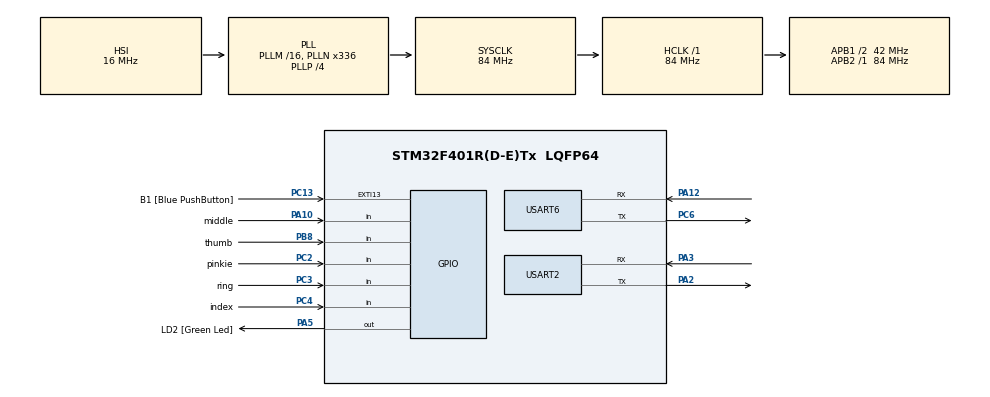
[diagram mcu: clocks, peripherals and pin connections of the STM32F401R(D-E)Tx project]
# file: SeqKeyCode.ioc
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Mcu.Family=STM32F4
Mcu.Name=STM32F401R(D-E)Tx
Mcu.Package=LQFP64
NVIC.PriorityGroup=NVIC_PRIORITYGROUP_0
PA10.GPIO_Label=middle
PA10.GPIO_PuPd=GPIO_PULLUP
PA10.Signal=GPIO_Input
PA12.Mode=Asynchronous
PA12.Signal=USART6_RX
PA13.GPIO_Label=TMS
PA13.Mode=Serial_Wire
PA13.Signal=SYS_JTMS-SWDIO
PA14.GPIO_Label=TCK
PA14.Mode=Serial_Wire
PA14.Signal=SYS_JTCK-SWCLK
PA2.Mode=Asynchronous
PA2.Signal=USART2_TX
PA3.Mode=Asynchronous
PA3.Signal=USART2_RX
PA5.GPIO_Label=LD2 [Green Led]
PA5.GPIO_Mode=GPIO_MODE_OUTPUT_PP
PA5.GPIO_PuPd=GPIO_NOPULL
PA5.GPIO_Speed=GPIO_SPEED_FREQ_LOW
PA5.Signal=GPIO_Output
PB3.GPIO_Label=SWO
PB3.Signal=SYS_JTDO-SWO
PB8.GPIO_Label=thumb
PB8.GPIO_PuPd=GPIO_PULLUP
PB8.Signal=GPIO_Input
PC13-ANTI_TAMP.GPIO_Label=B1 [Blue PushButton]
PC13-ANTI_TAMP.GPIO_ModeDefaultEXTI=GPIO_MODE_IT_FALLING
PC13-ANTI_TAMP.GPIO_PuPd=GPIO_NOPULL
PC13-ANTI_TAMP.Signal=GPXTI13
PC14-OSC32_IN.Mode=LSE-External-Oscillator
PC14-OSC32_IN.Signal=RCC_OSC32_IN
PC15-OSC32_OUT.Mode=LSE-External-Oscillator
PC15-OSC32_OUT.Signal=RCC_OSC32_OUT
PC2.GPIO_Label=pinkie
PC2.GPIO_PuPd=GPIO_PULLUP
PC2.Signal=GPIO_Input
PC3.GPIO_Label=ring
PC3.GPIO_PuPd=GPIO_PULLUP
PC3.Signal=GPIO_Input
PC4.GPIO_Label=index
PC4.GPIO_PuPd=GPIO_PULLUP
PC4.Signal=GPIO_Input
PC6.Mode=Asynchronous
PC6.Signal=USART6_TX
PH0\ -\ OSC_IN.Mode=HSE-External-Clock-Source
PH0\ -\ OSC_IN.Signal=RCC_OSC_IN
PH1\ -\ OSC_OUT.Mode=HSE-External-Clock-Source
PH1\ -\ OSC_OUT.Signal=RCC_OSC_OUT
ProjectManager.HeapSize=0x200
ProjectManager.StackSize=0x400
ProjectManager.TargetToolchain=STM32CubeIDE
RCC.48MHZClocksFreq_Value=48000000
RCC.AHBFreq_Value=84000000
RCC.APB1CLKDivider=RCC_HCLK_DIV2
RCC.APB1Freq_Value=42000000
RCC.APB1TimFreq_Value=84000000
RCC.APB2Freq_Value=84000000
RCC.APB2TimFreq_Value=84000000
RCC.CortexFreq_Value=84000000
RCC.HCLKFreq_Value=84000000
RCC.HSE_VALUE=8000000
RCC.HSI_VALUE=16000000
RCC.PLLN=336
RCC.PLLP=RCC_PLLP_DIV4
RCC.PLLQ=7
RCC.SYSCLKFreq_VALUE=84000000
RCC.SYSCLKSource=RCC_SYSCLKSOURCE_PLLCLK
RCC.VCOOutputFreq_Value=336000000
USART2.VirtualMode=VM_ASYNC
USART6.VirtualMode=VM_ASYNC
board=NUCLEO-F401RE

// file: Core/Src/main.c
/* USER CODE BEGIN Header */
/**
  ******************************************************************************
  * @file           : main.c
  * @brief          : Main program body
  ******************************************************************************
  * @attention
  *
  * Copyright (c) 2024 STMicroelectronics.
  * All rights reserved.
  *
  * This software is licensed under terms that can be found in the LICENSE file
  * in the root directory of this software component.
  * If no LICENSE file comes with this software, it is provided AS-IS.
  *
  ******************************************************************************
  */
/* USER CODE END Header */
#include "main.h"
#include "usart.h"
#include "gpio.h"
#include <string.h> // For memset and strcmp
#include <stdio.h>  // For printf

/* USER CODE BEGIN Includes */

<<<<<<< HEAD

/* USER CODE END Includes */

/* USER CODE BEGIN PD */

#define SEQ_BUFFER_SIZE 32
#define WORD_BUFFER_SIZE 32

char seq_buffer[SEQ_BUFFER_SIZE] = {0}; // Holds the 4-button sequence
char word_buffer[WORD_BUFFER_SIZE] = {0}; // Holds the constructed string
uint8_t seq_index = 0; // Tracks the sequence length
uint8_t word_index = 0; // Tracks the word length

uint8_t button_state[5] = {0};      // Current button state
uint8_t button_prev_state[5] = {0}; // Previous button state
char button_chars[4] = {'|', '-', '/', '('}; // Buttons for sequence (excluding thumb)

/* USER CODE END PD */

void SystemClock_Config(void);

/* USER CODE BEGIN 0 */

int _write(int file, char *ptr, int len) {
	HAL_UART_Transmit(&huart2, (uint8_t *)ptr, len, HAL_MAX_DELAY);
	return len;
}

void update_button_states();
void process_sequence();
void reset_buffers();
void send_string();

void update_button_states() {
	// Update previous states
	for (int i = 0; i < 5; i++) {
		button_prev_state[i] = button_state[i];
	}

	// Read current button states
	button_state[0] = HAL_GPIO_ReadPin(GPIOB, GPIO_PIN_8) == GPIO_PIN_RESET; // Thumb
	button_state[1] = HAL_GPIO_ReadPin(GPIOC, GPIO_PIN_4) == GPIO_PIN_RESET; // Index
	button_state[2] = HAL_GPIO_ReadPin(GPIOA, GPIO_PIN_10) == GPIO_PIN_RESET; // Middle
	button_state[3] = HAL_GPIO_ReadPin(GPIOC, GPIO_PIN_3) == GPIO_PIN_RESET; // Ring
	button_state[4] = HAL_GPIO_ReadPin(GPIOC, GPIO_PIN_2) == GPIO_PIN_RESET; // Pinky
}

void process_sequence() {
	// Map sequence to a letter
	char letter = 0;

	// Letter mappings (A-Z)
	if (strcmp(seq_buffer, "//-") == 0 || strcmp(seq_buffer, "/") == 0) letter = 'A';
	if (strcmp(seq_buffer, "|((") == 0 || strcmp(seq_buffer, "-(") == 0) letter = 'B';
	if (strcmp(seq_buffer, "(") == 0) letter = 'C';
	if (strcmp(seq_buffer, "|(") == 0) letter = 'D';
	if (strcmp(seq_buffer, "---") == 0 || strcmp(seq_buffer, "-") == 0) letter = 'E';
	if (strcmp(seq_buffer, "|--") == 0 || strcmp(seq_buffer, "--") == 0) letter = 'F';
	if (strcmp(seq_buffer, "(-|") == 0) letter = 'G';
	if (strcmp(seq_buffer, "|-|") == 0 || strcmp(seq_buffer, "||") == 0) letter = 'H';
	if (strcmp(seq_buffer, "-|-") == 0 || strcmp(seq_buffer, "|") == 0) letter = 'I';
	if (strcmp(seq_buffer, "-|(") == 0) letter = 'J';
	if (strcmp(seq_buffer, "|//") == 0) letter = 'K';
	if (strcmp(seq_buffer, "|-") == 0) letter = 'L';
	if (strcmp(seq_buffer, "|//|") == 0) letter = 'M';
	if (strcmp(seq_buffer, "|/|") == 0 || strcmp(seq_buffer, "|/") == 0) letter = 'N';
	if (strcmp(seq_buffer, "((") == 0) letter = 'O';
	if (strcmp(seq_buffer, "|(-") == 0 || strcmp(seq_buffer, "/-") == 0) letter = 'P';
	if (strcmp(seq_buffer, "((/") == 0) letter = 'Q';
	if (strcmp(seq_buffer, "|(/") == 0 || strcmp(seq_buffer, "(/") == 0) letter = 'R';
	if (strcmp(seq_buffer, "(-(") == 0 || strcmp(seq_buffer, "(-") == 0) letter = 'S';
	if (strcmp(seq_buffer, "-|") == 0) letter = 'T';
	if (strcmp(seq_buffer, "|(|") == 0 || strcmp(seq_buffer, "(|") == 0) letter = 'U';
	if (strcmp(seq_buffer, "/(/") == 0 || strcmp(seq_buffer, "/(") == 0) letter = 'V';
	if (strcmp(seq_buffer, "////") == 0 || strcmp(seq_buffer, "///") == 0) letter = 'W';
	if (strcmp(seq_buffer, "//") == 0) letter = 'X';
	if (strcmp(seq_buffer, "/|/") == 0 || strcmp(seq_buffer, "/|") == 0) letter = 'Y';
	if (strcmp(seq_buffer, "-/-") == 0 || strcmp(seq_buffer, "-/") == 0) letter = 'Z';

	// Number mappings (1-9, 0)
//	if (strcmp(seq_buffer, "1") == 0) letter = '1';
//	if (strcmp(seq_buffer, "2") == 0) letter = '2';
//	if (strcmp(seq_buffer, "3") == 0) letter = '3';
//	if (strcmp(seq_buffer, "4") == 0) letter = '4';
//	if (strcmp(seq_buffer, "5") == 0) letter = '5';
//	if (strcmp(seq_buffer, "6") == 0) letter = '6';
//	if (strcmp(seq_buffer, "7") == 0) letter = '7';
//	if (strcmp(seq_buffer, "8") == 0) letter = '8';
//	if (strcmp(seq_buffer, "9") == 0) letter = '9';
//	if (strcmp(seq_buffer, "0") == 0) letter = '0';

	// Control Commands
//	if (strcmp(seq_buffer, "combination of (-|/") == 0) letter = '_';  // Reset sequence
//	if (strcmp(seq_buffer, "(/-|") == 0) letter = '-';  // Backspace
//	if (strcmp(seq_buffer, "#") == 0) letter = '>';  // Enter letter
//	if (strcmp(seq_buffer, "##") == 0) letter = '@';  // Send word

	if (letter) {
		// Append the letter to the word buffer
		if (word_index < WORD_BUFFER_SIZE - 1) {
			word_buffer[word_index++] = letter;
			word_buffer[word_index] = '\n'; // Null-terminate the string
			printf("Letter added: %c\r\n", letter);
		}
		else {
			printf("Word buffer full!\r\n");
		}
	}
	else {
		printf("Invalid sequence: %s\r\n", seq_buffer);
	}

	// Clear sequence buffer after processing
	memset(seq_buffer, 0, SEQ_BUFFER_SIZE);
	seq_index = 0;
}

void send_word() {
	printf("String sent: %s\r\n", word_buffer);

	HAL_UART_Transmit(&huart6, (uint8_t *)word_buffer, strlen(word_buffer), HAL_MAX_DELAY);
	HAL_Delay(10);

	// Reset word buffer
	memset(word_buffer, 0, WORD_BUFFER_SIZE);
	word_index = 0;

	// Toggle LED for feedback
	HAL_GPIO_TogglePin(GPIOA, GPIO_PIN_5);
	HAL_Delay(300);
	HAL_GPIO_TogglePin(GPIOA, GPIO_PIN_5);
}

void reset_buffers() {
	memset(seq_buffer, 0, SEQ_BUFFER_SIZE);
	memset(word_buffer, 0, WORD_BUFFER_SIZE);
	seq_index = 0;
	word_index = 0;
}

/* USER CODE END 0 */

int main(void)
{

  /* MCU Configuration--------------------------------------------------------*/

  /* Reset of all peripherals, Initializes the Flash interface and the Systick. */
  HAL_Init();

  /* Configure the system clock */
  SystemClock_Config();

  /* Initialize all configured peripherals */
  MX_GPIO_Init();
  MX_USART2_UART_Init();
  MX_USART6_UART_Init();
  /* USER CODE BEGIN 2 */

  printf("UART Initialized \r\n");

// Trie Node
typedef struct TrieNode {
    struct TrieNode* children[26]; // Assuming only uppercase letters A-Z
    bool isEndOfWord;
} TrieNode;

// Trie
typedef struct {
    TrieNode* root;
} Trie;

// Create a new Trie node
TrieNode* createTrieNode() {
    TrieNode* node = (TrieNode*)malloc(sizeof(TrieNode));
    for (int i = 0; i < 26; i++) {
        node->children[i] = NULL;
    }
    node->isEndOfWord = false;
    return node;
}

// Initialize Trie
void initTrie(Trie* trie) {
    trie->root = createTrieNode();
}

// Insert a word into the Trie
void insertTrie(Trie* trie, const char* word) {
    TrieNode* current = trie->root;
    for (int i = 0; word[i] != '\0'; i++) {
        int index = word[i] - 'A'; // Convert char to index (A=0, B=1, ..., Z=25)
        if (current->children[index] == NULL) {
            current->children[index] = createTrieNode();
        }
        current = current->children[index];
    }
    current->isEndOfWord = true;
}

// Fuzzy Search: Longest Common Subsequence (LCS)
int lcsLength(const char* input, const char* word) {
    int m = strlen(input);
    int n = strlen(word);
    int dp[m + 1][n + 1];
    memset(dp, 0, sizeof(dp));

    for (int i = 1; i <= m; i++) {
        for (int j = 1; j <= n; j++) {
            if (input[i - 1] == word[j - 1]) {
                dp[i][j] = dp[i - 1][j - 1] + 1;
            } else {
                dp[i][j] = (dp[i - 1][j] > dp[i][j - 1]) ? dp[i - 1][j] : dp[i][j - 1];
            }
        }
    }
    return dp[m][n];
}

// Recursive function to collect all words from a Trie node
void collectWords(TrieNode* node, char* prefix, int prefixLength, char* buffer, int* bufferIndex) {
    if (node->isEndOfWord) {
        buffer[(*bufferIndex)++] = '\0'; // Null-terminate the word
        strcpy(&buffer[*bufferIndex], prefix);
        *bufferIndex += prefixLength;
    }
    for (int i = 0; i < 26; i++) {
        if (node->children[i] != NULL) {
            prefix[prefixLength] = 'A' + i; // Append the current character
            collectWords(node->children[i], prefix, prefixLength + 1, buffer, bufferIndex);
            prefix[prefixLength] = '\0'; // Backtrack
        }
    }
}

// Find closest matches using Trie and Fuzzy Search
void findClosestMatches(Trie* trie, const char* input, char* output) {
    // Step 1: Use Trie to find words with the same prefix
    TrieNode* current = trie->root;
    for (int i = 0; input[i] != '\0'; i++) {
        int index = input[i] - 'A';
        if (current->children[index] == NULL) {
            return; // No words with this prefix
        }
        current = current->children[index];
    }

    // Step 2: Collect all words with the same prefix
    char buffer[WORD_BUFFER_SIZE * 100]; // Buffer to hold all words
    int bufferIndex = 0;
    char prefix[WORD_BUFFER_SIZE] = {0};
    strcpy(prefix, input); // Start with the input prefix
    collectWords(current, prefix, strlen(prefix), buffer, &bufferIndex);

    // Step 3: Rank words using LCS
    int maxScore = -1;
    char* closestMatch = NULL;
    char* word = strtok(buffer, "\0"); // Split buffer into individual words
    while (word != NULL) {
        int score = lcsLength(input, word);
        if (score > maxScore) {
            maxScore = score;
            closestMatch = word;
        }
        word = strtok(NULL, "\0");
    }

    // Step 4: Return the closest match
    if (closestMatch != NULL) {
        strcpy(output, closestMatch);
    } else {
        strcpy(output, ""); // No match found
    }
}

void insertWordsFromFile(Trie* trie, const char* filename) {
    FILE* file = fopen(filename, "r");
    if (file == NULL) {
        printf("Failed to open file: %s\r\n", filename);
        return;
    }

    char line[WORD_BUFFER_SIZE];
    while (fgets(line, sizeof(line), file)) {
        // Remove trailing newline character (if any)
        line[strcspn(line, "\n")] = '\0';
        // Insert the word into the Trie
        insertTrie(trie, line);
    }

    fclose(file);
    printf("Words inserted from file: %s\r\n", filename);
}

/* USER CODE END Includes */

/* Private typedef -----------------------------------------------------------*/
/* USER CODE BEGIN PTD */

/* USER CODE END PTD */

/* Private define ------------------------------------------------------------*/
/* USER CODE BEGIN PD */

#define SEQ_BUFFER_SIZE 32
#define WORD_BUFFER_SIZE 32

char seq_buffer[SEQ_BUFFER_SIZE] = {0}; // Holds the 4-button sequence
char word_buffer[WORD_BUFFER_SIZE] = {0}; // Holds the constructed string
uint8_t seq_index = 0; // Tracks the sequence length
uint8_t word_index = 0; // Tracks the word length

uint8_t button_state[5] = {0};      // Current button state
uint8_t button_prev_state[5] = {0}; // Previous button state
char button_chars[4] = {'|', '-', '/', '('}; // Buttons for sequence (excluding thumb)

/* USER CODE END PD */

/* Private macro -------------------------------------------------------------*/
/* USER CODE BEGIN PM */

/* USER CODE END PM */

/* Private variables ---------------------------------------------------------*/

/* USER CODE BEGIN PV */

/* USER CODE END PV */

/* Private function prototypes -----------------------------------------------*/
void SystemClock_Config(void);
/* USER CODE BEGIN PFP */

/* USER CODE END PFP */

/* Private user code ---------------------------------------------------------*/
/* USER CODE BEGIN 0 */

int _write(int file, char *ptr, int len) {
	HAL_UART_Transmit(&huart2, (uint8_t *)ptr, len, HAL_MAX_DELAY);
	return len;
}

void update_button_states();
void process_sequence();
void reset_buffers();
void send_string();

void update_button_states() {
	// Update previous states
	for (int i = 0; i < 5; i++) {
		button_prev_state[i] = button_state[i];
	}

	// Read current button states
	button_state[0] = HAL_GPIO_ReadPin(GPIOB, GPIO_PIN_8) == GPIO_PIN_RESET; // Thumb
	button_state[1] = HAL_GPIO_ReadPin(GPIOC, GPIO_PIN_4) == GPIO_PIN_RESET; // Index
	button_state[2] = HAL_GPIO_ReadPin(GPIOA, GPIO_PIN_10) == GPIO_PIN_RESET; // Middle
	button_state[3] = HAL_GPIO_ReadPin(GPIOC, GPIO_PIN_3) == GPIO_PIN_RESET; // Ring
	button_state[4] = HAL_GPIO_ReadPin(GPIOC, GPIO_PIN_2) == GPIO_PIN_RESET; // Pinky
}

void process_sequence() {
	// Map sequence to a letter
	char letter = 0;

	// Letter mappings (A-Z)
	if (strcmp(seq_buffer, "//-") == 0 || strcmp(seq_buffer, "/") == 0) letter = 'A';
	if (strcmp(seq_buffer, "|((") == 0 || strcmp(seq_buffer, "-(") == 0) letter = 'B';
	if (strcmp(seq_buffer, "(") == 0) letter = 'C';
	if (strcmp(seq_buffer, "|(") == 0) letter = 'D';
	if (strcmp(seq_buffer, "---") == 0 || strcmp(seq_buffer, "-") == 0) letter = 'E';
	if (strcmp(seq_buffer, "|--") == 0 || strcmp(seq_buffer, "--") == 0) letter = 'F';
	if (strcmp(seq_buffer, "(-|") == 0) letter = 'G';
	if (strcmp(seq_buffer, "|-|") == 0 || strcmp(seq_buffer, "||") == 0) letter = 'H';
	if (strcmp(seq_buffer, "-|-") == 0 || strcmp(seq_buffer, "|") == 0) letter = 'I';
	if (strcmp(seq_buffer, "-|(") == 0) letter = 'J';
	if (strcmp(seq_buffer, "|//") == 0) letter = 'K';
	if (strcmp(seq_buffer, "|-") == 0) letter = 'L';
	if (strcmp(seq_buffer, "|//|") == 0) letter = 'M';
	if (strcmp(seq_buffer, "|/|") == 0 || strcmp(seq_buffer, "|/") == 0) letter = 'N';
	if (strcmp(seq_buffer, "((") == 0) letter = 'O';
	if (strcmp(seq_buffer, "|(-") == 0 || strcmp(seq_buffer, "/-") == 0) letter = 'P';
	if (strcmp(seq_buffer, "((/") == 0) letter = 'Q';
	if (strcmp(seq_buffer, "|(/") == 0 || strcmp(seq_buffer, "(/") == 0) letter = 'R';
	if (strcmp(seq_buffer, "(-(") == 0 || strcmp(seq_buffer, "(-") == 0) letter = 'S';
	if (strcmp(seq_buffer, "-|") == 0) letter = 'T';
	if (strcmp(seq_buffer, "|(|") == 0 || strcmp(seq_buffer, "(|") == 0) letter = 'U';
	if (strcmp(seq_buffer, "/(/") == 0 || strcmp(seq_buffer, "/(") == 0) letter = 'V';
	if (strcmp(seq_buffer, "////") == 0 || strcmp(seq_buffer, "///") == 0) letter = 'W';
	if (strcmp(seq_buffer, "//") == 0) letter = 'X';
	if (strcmp(seq_buffer, "/|/") == 0 || strcmp(seq_buffer, "/|") == 0) letter = 'Y';
	if (strcmp(seq_buffer, "-/-") == 0 || strcmp(seq_buffer, "-/") == 0) letter = 'Z';

	// Number mappings (1-9, 0)
//	if (strcmp(seq_buffer, "1") == 0) letter = '1';
//	if (strcmp(seq_buffer, "2") == 0) letter = '2';
//	if (strcmp(seq_buffer, "3") == 0) letter = '3';
//	if (strcmp(seq_buffer, "4") == 0) letter = '4';
//	if (strcmp(seq_buffer, "5") == 0) letter = '5';
//	if (strcmp(seq_buffer, "6") == 0) letter = '6';
//	if (strcmp(seq_buffer, "7") == 0) letter = '7';
//	if (strcmp(seq_buffer, "8") == 0) letter = '8';
//	if (strcmp(seq_buffer, "9") == 0) letter = '9';
//	if (strcmp(seq_buffer, "0") == 0) letter = '0';

	// Control Commands
//	if (strcmp(seq_buffer, "combination of (-|/") == 0) letter = '_';  // Reset sequence
//	if (strcmp(seq_buffer, "(/-|") == 0) letter = '-';  // Backspace
//	if (strcmp(seq_buffer, "#") == 0) letter = '>';  // Enter letter
//	if (strcmp(seq_buffer, "##") == 0) letter = '@';  // Send word

	if (letter) {
		// Append the letter to the word buffer
		if (word_index < WORD_BUFFER_SIZE - 1) {
			word_buffer[word_index++] = letter;
			word_buffer[word_index] = '\n'; // Null-terminate the string
			printf("Letter added: %c\r\n", letter);
		}
		else {
			printf("Word buffer full!\r\n");
		}
	}
	else {
		printf("Invalid sequence: %s\r\n", seq_buffer);
	}

	// Clear sequence buffer after processing
	memset(seq_buffer, 0, SEQ_BUFFER_SIZE);
	seq_index = 0;
}

void send_word() {
	printf("String sent: %s\r\n", word_buffer);

	HAL_UART_Transmit(&huart6, (uint8_t *)word_buffer, strlen(word_buffer), HAL_MAX_DELAY);
	HAL_Delay(10);

	// Reset word buffer
	memset(word_buffer, 0, WORD_BUFFER_SIZE);
	word_index = 0;

	// Toggle LED for feedback
	HAL_GPIO_TogglePin(GPIOA, GPIO_PIN_5);
	HAL_Delay(300);
	HAL_GPIO_TogglePin(GPIOA, GPIO_PIN_5);
}

void reset_buffers() {
	memset(seq_buffer, 0, SEQ_BUFFER_SIZE);
	memset(word_buffer, 0, WORD_BUFFER_SIZE);
	seq_index = 0;
	word_index = 0;
}

void process_sequence() {
    // Map sequence to a letter
    char letter = 0;

    // Use Trie and Fuzzy Search to find the closest match
    char closestMatch[WORD_BUFFER_SIZE];
    findClosestMatches(&trie, seq_buffer, closestMatch);

    // Append the closest match to the word buffer
    if (word_index + strlen(closestMatch) < WORD_BUFFER_SIZE - 1) {
        strcat(word_buffer, closestMatch);
        word_index += strlen(closestMatch);
        printf("Closest match added: %s\r\n", closestMatch);
    } else {
        printf("Word buffer full!\r\n");
    }

    // Clear sequence buffer after processing
    memset(seq_buffer, 0, SEQ_BUFFER_SIZE);
    seq_index = 0;
}

TrieNode* createTrieNode() {
    TrieNode* node = (TrieNode*)malloc(sizeof(TrieNode));
    if (node == NULL) {
        printf("Memory allocation failed!\r\n");
        return NULL;
    }
    for (int i = 0; i < 26; i++) {
        node->children[i] = NULL;
    }
    node->isEndOfWord = false;
    return node;
}

/* USER CODE END 0 */

/**
  * @brief  The application entry point.
  * @retval int
  */
int main(void)
{

  /* USER CODE BEGIN 1 */

  /* USER CODE END 1 */

  /* MCU Configuration--------------------------------------------------------*/

  /* Reset of all peripherals, Initializes the Flash interface and the Systick. */
  HAL_Init();

  /* USER CODE BEGIN Init */

  /* USER CODE END Init */

  /* Configure the system clock */
  SystemClock_Config();

  /* USER CODE BEGIN SysInit */

  /* USER CODE END SysInit */

  /* Initialize all configured peripherals */
  MX_GPIO_Init();
  MX_USART2_UART_Init();
  MX_USART6_UART_Init();
  /* USER CODE BEGIN 2 */

  printf("UART Initialized \r\n");

  Trie trie;
  initTrie(&trie);
  // Insert words from a text file into the Trie
  insertWordsFromFile(&trie, "google-10000-english.txt");

/* USER CODE END Includes */

/* Private typedef -----------------------------------------------------------*/
/* USER CODE BEGIN PTD */

/* USER CODE END PTD */

/* Private define ------------------------------------------------------------*/
/* USER CODE BEGIN PD */

#define SEQ_BUFFER_SIZE 32
#define WORD_BUFFER_SIZE 32

char seq_buffer[SEQ_BUFFER_SIZE] = {0}; // Holds the 4-button sequence
char word_buffer[WORD_BUFFER_SIZE] = {0}; // Holds the constructed string
uint8_t seq_index = 0; // Tracks the sequence length
uint8_t word_index = 0; // Tracks the word length

uint8_t button_state[5] = {0};      // Current button state
uint8_t button_prev_state[5] = {0}; // Previous button state
char button_chars[4] = {'|', '-', '/', '('}; // Buttons for sequence (excluding thumb)

/* USER CODE END PD */

/* Private macro -------------------------------------------------------------*/
/* USER CODE BEGIN PM */

/* USER CODE END PM */

/* Private variables ---------------------------------------------------------*/

/* USER CODE BEGIN PV */

/* USER CODE END PV */

/* Private function prototypes -----------------------------------------------*/
void SystemClock_Config(void);
/* USER CODE BEGIN PFP */

/* USER CODE END PFP */

/* Private user code ---------------------------------------------------------*/
/* USER CODE BEGIN 0 */

int _write(int file, char *ptr, int len) {
	HAL_UART_Transmit(&huart2, (uint8_t *)ptr, len, HAL_MAX_DELAY);
	return len;
}

void update_button_states();
void process_sequence();
void reset_buffers();
void send_string();

void update_button_states() {
	// Update previous states
	for (int i = 0; i < 5; i++) {
		button_prev_state[i] = button_state[i];
	}

	// Read current button states
	button_state[0] = HAL_GPIO_ReadPin(GPIOB, GPIO_PIN_8) == GPIO_PIN_RESET; // Thumb
	button_state[1] = HAL_GPIO_ReadPin(GPIOC, GPIO_PIN_4) == GPIO_PIN_RESET; // Index
	button_state[2] = HAL_GPIO_ReadPin(GPIOA, GPIO_PIN_10) == GPIO_PIN_RESET; // Middle
	button_state[3] = HAL_GPIO_ReadPin(GPIOC, GPIO_PIN_3) == GPIO_PIN_RESET; // Ring
	button_state[4] = HAL_GPIO_ReadPin(GPIOC, GPIO_PIN_2) == GPIO_PIN_RESET; // Pinky
}

void process_sequence() {
	// Map sequence to a letter
	char letter = 0;

	// Letter mappings (A-Z)
	if (strcmp(seq_buffer, "//-") == 0 || strcmp(seq_buffer, "/") == 0) letter = 'A';
	if (strcmp(seq_buffer, "|((") == 0 || strcmp(seq_buffer, "-(") == 0) letter = 'B';
	if (strcmp(seq_buffer, "(") == 0) letter = 'C';
	if (strcmp(seq_buffer, "|(") == 0) letter = 'D';
	if (strcmp(seq_buffer, "---") == 0 || strcmp(seq_buffer, "-") == 0) letter = 'E';
	if (strcmp(seq_buffer, "|--") == 0 || strcmp(seq_buffer, "--") == 0) letter = 'F';
	if (strcmp(seq_buffer, "(-|") == 0) letter = 'G';
	if (strcmp(seq_buffer, "|-|") == 0 || strcmp(seq_buffer, "||") == 0) letter = 'H';
	if (strcmp(seq_buffer, "-|-") == 0 || strcmp(seq_buffer, "|") == 0) letter = 'I';
	if (strcmp(seq_buffer, "-|(") == 0) letter = 'J';
	if (strcmp(seq_buffer, "|//") == 0) letter = 'K';
	if (strcmp(seq_buffer, "|-") == 0) letter = 'L';
	if (strcmp(seq_buffer, "|//|") == 0) letter = 'M';
	if (strcmp(seq_buffer, "|/|") == 0 || strcmp(seq_buffer, "|/") == 0) letter = 'N';
	if (strcmp(seq_buffer, "((") == 0) letter = 'O';
	if (strcmp(seq_buffer, "|(-") == 0 || strcmp(seq_buffer, "/-") == 0) letter = 'P';
	if (strcmp(seq_buffer, "((/") == 0) letter = 'Q';
	if (strcmp(seq_buffer, "|(/") == 0 || strcmp(seq_buffer, "(/") == 0) letter = 'R';
	if (strcmp(seq_buffer, "(-(") == 0 || strcmp(seq_buffer, "(-") == 0) letter = 'S';
	if (strcmp(seq_buffer, "-|") == 0) letter = 'T';
	if (strcmp(seq_buffer, "|(|") == 0 || strcmp(seq_buffer, "(|") == 0) letter = 'U';
	if (strcmp(seq_buffer, "/(/") == 0 || strcmp(seq_buffer, "/(") == 0) letter = 'V';
	if (strcmp(seq_buffer, "////") == 0 || strcmp(seq_buffer, "///") == 0) letter = 'W';
	if (strcmp(seq_buffer, "//") == 0) letter = 'X';
	if (strcmp(seq_buffer, "/|/") == 0 || strcmp(seq_buffer, "/|") == 0) letter = 'Y';
	if (strcmp(seq_buffer, "-/-") == 0 || strcmp(seq_buffer, "-/") == 0) letter = 'Z';

	// Number mappings (1-9, 0)
//	if (strcmp(seq_buffer, "1") == 0) letter = '1';
//	if (strcmp(seq_buffer, "2") == 0) letter = '2';
//	if (strcmp(seq_buffer, "3") == 0) letter = '3';
//	if (strcmp(seq_buffer, "4") == 0) letter = '4';
//	if (strcmp(seq_buffer, "5") == 0) letter = '5';
//	if (strcmp(seq_buffer, "6") == 0) letter = '6';
//	if (strcmp(seq_buffer, "7") == 0) letter = '7';
//	if (strcmp(seq_buffer, "8") == 0) letter = '8';
//	if (strcmp(seq_buffer, "9") == 0) letter = '9';
//	if (strcmp(seq_buffer, "0") == 0) letter = '0';

	// Control Commands
//	if (strcmp(seq_buffer, "combination of (-|/") == 0) letter = '_';  // Reset sequence
//	if (strcmp(seq_buffer, "(/-|") == 0) letter = '-';  // Backspace
//	if (strcmp(seq_buffer, "#") == 0) letter = '>';  // Enter letter
//	if (strcmp(seq_buffer, "##") == 0) letter = '@';  // Send word

	if (letter) {
		// Append the letter to the word buffer
		if (word_index < WORD_BUFFER_SIZE - 1) {
			word_buffer[word_index++] = letter;
			word_buffer[word_index] = '\n'; // Null-terminate the string
			printf("Letter added: %c\r\n", letter);
		}
		else {
			printf("Word buffer full!\r\n");
		}
	}
	else {
		printf("Invalid sequence: %s\r\n", seq_buffer);
	}

	// Clear sequence buffer after processing
	memset(seq_buffer, 0, SEQ_BUFFER_SIZE);
	seq_index = 0;
}

void send_word() {
	printf("String sent: %s\r\n", word_buffer);

	HAL_UART_Transmit(&huart6, (uint8_t *)word_buffer, strlen(word_buffer), HAL_MAX_DELAY);
	HAL_Delay(10);

	// Reset word buffer
	memset(word_buffer, 0, WORD_BUFFER_SIZE);
	word_index = 0;

	// Toggle LED for feedback
	HAL_GPIO_TogglePin(GPIOA, GPIO_PIN_5);
	HAL_Delay(300);
	HAL_GPIO_TogglePin(GPIOA, GPIO_PIN_5);
}

void reset_buffers() {
	memset(seq_buffer, 0, SEQ_BUFFER_SIZE);
	memset(word_buffer, 0, WORD_BUFFER_SIZE);
	seq_index = 0;
	word_index = 0;
}

/* USER CODE END 0 */

/**
  * @brief  The application entry point.
  * @retval int
  */
int main(void)
{

  /* USER CODE BEGIN 1 */

  /* USER CODE END 1 */

  /* MCU Configuration--------------------------------------------------------*/

  /* Reset of all peripherals, Initializes the Flash interface and the Systick. */
  HAL_Init();

  /* USER CODE BEGIN Init */

  /* USER CODE END Init */

  /* Configure the system clock */
  SystemClock_Config();

  /* USER CODE BEGIN SysInit */

  /* USER CODE END SysInit */

  /* Initialize all configured peripherals */
  MX_GPIO_Init();
  MX_USART2_UART_Init();
  MX_USART6_UART_Init();
  /* USER CODE BEGIN 2 */

  printf("UART Initialized \r\n");

  /* USER CODE END 2 */

  /* Infinite loop */
  /* USER CODE BEGIN WHILE */
  while (1) {
	  update_button_states();

	  // Detect button presses for sequence
	  for (int i = 1; i <= 4; i++) { // Exclude thumb
		  if (button_prev_state[i] == 0 && button_state[i] == 1) { // Button pressed
			  if (seq_index < SEQ_BUFFER_SIZE - 1) {
				  seq_buffer[seq_index++] = button_chars[i - 1];
				  seq_buffer[seq_index] = '\0'; // Null-terminate
				  printf("Button added to sequence: %c\r\n", button_chars[i - 1]);
			  }
			  else {
				  printf("Sequence buffer full!\r\n");
			  }
		  }
	  }

	  // Detect thumb press to process the sequence
	  if (button_prev_state[0] == 0 && button_state[0] == 1) { // Thumb button pressed
	      if (seq_index == 0) { // Sequence is empty
	          if (word_index > 0) { // String exists to be sent
	              send_word();
	          } else {
	              printf("No string to send!\r\n");
	          }
	      } else {
	          printf("Processing sequence: %s\r\n", seq_buffer);
	          process_sequence();
	      }
	  }

	  HAL_Delay(50); // Reduce CPU load
    /* USER CODE END WHILE */

  }
}

void SystemClock_Config(void)
{
  RCC_OscInitTypeDef RCC_OscInitStruct = {0};
  RCC_ClkInitTypeDef RCC_ClkInitStruct = {0};

  /** Configure the main internal regulator output voltage
  */
  __HAL_RCC_PWR_CLK_ENABLE();
  __HAL_PWR_VOLTAGESCALING_CONFIG(PWR_REGULATOR_VOLTAGE_SCALE2);

  /** Initializes the RCC Oscillators according to the specified parameters
  * in the RCC_OscInitTypeDef structure.
  */
  RCC_OscInitStruct.OscillatorType = RCC_OSCILLATORTYPE_HSI;
  RCC_OscInitStruct.HSIState = RCC_HSI_ON;
  RCC_OscInitStruct.HSICalibrationValue = RCC_HSICALIBRATION_DEFAULT;
  RCC_OscInitStruct.PLL.PLLState = RCC_PLL_ON;
  RCC_OscInitStruct.PLL.PLLSource = RCC_PLLSOURCE_HSI;
  RCC_OscInitStruct.PLL.PLLM = 16;
  RCC_OscInitStruct.PLL.PLLN = 336;
  RCC_OscInitStruct.PLL.PLLP = RCC_PLLP_DIV4;
  RCC_OscInitStruct.PLL.PLLQ = 7;
  if (HAL_RCC_OscConfig(&RCC_OscInitStruct) != HAL_OK)
  {
    Error_Handler();
  }

  /** Initializes the CPU, AHB and APB buses clocks
  */
  RCC_ClkInitStruct.ClockType = RCC_CLOCKTYPE_HCLK|RCC_CLOCKTYPE_SYSCLK
                              |RCC_CLOCKTYPE_PCLK1|RCC_CLOCKTYPE_PCLK2;
  RCC_ClkInitStruct.SYSCLKSource = RCC_SYSCLKSOURCE_PLLCLK;
  RCC_ClkInitStruct.AHBCLKDivider = RCC_SYSCLK_DIV1;
  RCC_ClkInitStruct.APB1CLKDivider = RCC_HCLK_DIV2;
  RCC_ClkInitStruct.APB2CLKDivider = RCC_HCLK_DIV1;

  if (HAL_RCC_ClockConfig(&RCC_ClkInitStruct, FLASH_LATENCY_2) != HAL_OK)
  {
    Error_Handler();
  }
}

void Error_Handler(void)
{
  __disable_irq();
  while (1)
  {
  }
}
